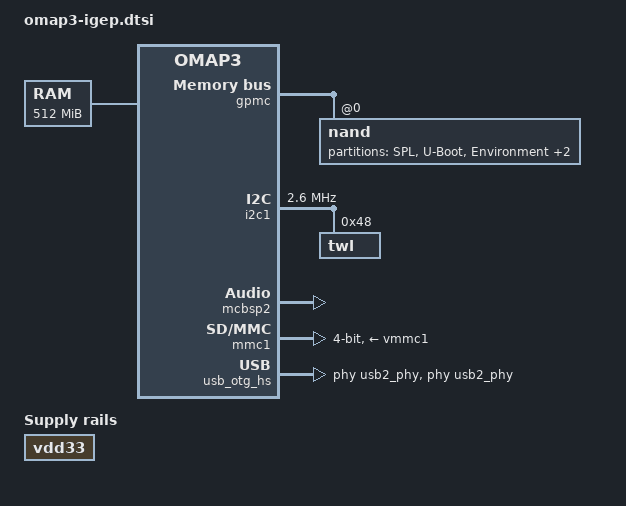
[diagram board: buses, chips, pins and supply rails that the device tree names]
/*
 * Common device tree for IGEP boards based on AM/DM37x
 *
 * Copyright (C) 2012 Javier Martinez Canillas <javier@collabora.co.uk>
 * Copyright (C) 2012 Enric Balletbo i Serra <eballetbo@gmail.com>
 *
 * This program is free software; you can redistribute it and/or modify
 * it under the terms of the GNU General Public License version 2 as
 * published by the Free Software Foundation.
 */
/dts-v1/;

#include "omap36xx.dtsi"

/ {
	memory {
		device_type = "memory";
		reg = <0x80000000 0x20000000>; /* 512 MB */
	};

	sound {
		compatible = "ti,omap-twl4030";
		ti,model = "igep2";
		ti,mcbsp = <&mcbsp2>;
	};

	vdd33: regulator-vdd33 {
		compatible = "regulator-fixed";
		regulator-name = "vdd33";
		regulator-always-on;
	};

};

&omap3_pmx_core {
	uart1_pins: pinmux_uart1_pins {
		pinctrl-single,pins = <
			0x152 (PIN_INPUT | MUX_MODE0)		/* uart1_rx.uart1_rx */
			0x14c (PIN_OUTPUT |MUX_MODE0)		/* uart1_tx.uart1_tx */
		>;
	};

	uart3_pins: pinmux_uart3_pins {
		pinctrl-single,pins = <
			0x16e (PIN_INPUT | MUX_MODE0)		/* uart3_rx.uart3_rx */
			0x170 (PIN_OUTPUT | MUX_MODE0)		/* uart3_tx.uart3_tx */
		>;
	};

	mcbsp2_pins: pinmux_mcbsp2_pins {
		pinctrl-single,pins = <
			0x10c (PIN_INPUT | MUX_MODE0)		/* mcbsp2_fsx.mcbsp2_fsx */
			0x10e (PIN_INPUT | MUX_MODE0)		/* mcbsp2_clkx.mcbsp2_clkx */
			0x110 (PIN_INPUT | MUX_MODE0)		/* mcbsp2_dr.mcbsp2.dr */
			0x112 (PIN_OUTPUT | MUX_MODE0)		/* mcbsp2_dx.mcbsp2_dx */
		>;
	};

	mmc1_pins: pinmux_mmc1_pins {
		pinctrl-single,pins = <
			0x114 (PIN_INPUT_PULLUP | MUX_MODE0)	/* sdmmc1_clk.sdmmc1_clk */
			0x116 (PIN_INPUT_PULLUP | MUX_MODE0)	/* sdmmc1_cmd.sdmmc1_cmd */
			0x118 (PIN_INPUT_PULLUP | MUX_MODE0) 	/* sdmmc1_dat0.sdmmc1_dat0 */
			0x11a (PIN_INPUT_PULLUP | MUX_MODE0)	/* sdmmc1_dat1.sdmmc1_dat1 */
			0x11c (PIN_INPUT_PULLUP | MUX_MODE0)	/* sdmmc1_dat2.sdmmc1_dat2 */
			0x11e (PIN_INPUT_PULLUP | MUX_MODE0)	/* sdmmc1_dat3.sdmmc1_dat3 */
		>;
	};

	mmc2_pins: pinmux_mmc2_pins {
		pinctrl-single,pins = <
			0x128 (PIN_INPUT_PULLUP | MUX_MODE0)	/* sdmmc2_clk.sdmmc2_clk */
			0x12a (PIN_INPUT_PULLUP | MUX_MODE0)	/* sdmmc2_cmd.sdmmc2_cmd */
			0x12c (PIN_INPUT_PULLUP | MUX_MODE0) 	/* sdmmc2_dat0.sdmmc2_dat0 */
			0x12e (PIN_INPUT_PULLUP | MUX_MODE0)	/* sdmmc2_dat1.sdmmc2_dat1 */
			0x130 (PIN_INPUT_PULLUP | MUX_MODE0)	/* sdmmc2_dat2.sdmmc2_dat2 */
			0x132 (PIN_INPUT_PULLUP | MUX_MODE0)	/* sdmmc2_dat3.sdmmc2_dat3 */
		>;
	};

	i2c1_pins: pinmux_i2c1_pins {
		pinctrl-single,pins = <
			0x18a (PIN_INPUT | MUX_MODE0)   /* i2c1_scl.i2c1_scl */
			0x18c (PIN_INPUT | MUX_MODE0)   /* i2c1_sda.i2c1_sda */
		>;
	};

	i2c3_pins: pinmux_i2c3_pins {
		pinctrl-single,pins = <
			0x192 (PIN_INPUT | MUX_MODE0)   /* i2c3_scl.i2c3_scl */
			0x194 (PIN_INPUT | MUX_MODE0)   /* i2c3_sda.i2c3_sda */
		>;
	};
};

&gpmc {
	nand@0,0 {
		linux,mtd-name= "micron,mt29c4g96maz";
		reg = <0 0 4>;	/* CS0, offset 0, IO size 4 */
		nand-bus-width = <16>;
		gpmc,device-width = <2>;
		ti,nand-ecc-opt = "bch8";

		gpmc,sync-clk-ps = <0>;
		gpmc,cs-on-ns = <0>;
		gpmc,cs-rd-off-ns = <44>;
		gpmc,cs-wr-off-ns = <44>;
		gpmc,adv-on-ns = <6>;
		gpmc,adv-rd-off-ns = <34>;
		gpmc,adv-wr-off-ns = <44>;
		gpmc,we-off-ns = <40>;
		gpmc,oe-off-ns = <54>;
		gpmc,access-ns = <64>;
		gpmc,rd-cycle-ns = <82>;
		gpmc,wr-cycle-ns = <82>;
		gpmc,wr-access-ns = <40>;
		gpmc,wr-data-mux-bus-ns = <0>;

		#address-cells = <1>;
		#size-cells = <1>;

		partition@0 {
			label = "SPL";
			reg = <0 0x100000>;
		};
		partition@80000 {
			label = "U-Boot";
			reg = <0x100000 0x180000>;
		};
		partition@1c0000 {
			label = "Environment";
			reg = <0x280000 0x100000>;
		};
		partition@280000 {
			label = "Kernel";
			reg = <0x380000 0x300000>;
		};
		partition@780000 {
			label = "Filesystem";
			reg = <0x680000 0x1f980000>;
		};
	};
};

&i2c1 {
	pinctrl-names = "default";
	pinctrl-0 = <&i2c1_pins>;
	clock-frequency = <2600000>;

	twl: twl@48 {
		reg = <0x48>;
		interrupts = <7>; /* SYS_NIRQ cascaded to intc */
		interrupt-parent = <&intc>;

		twl_audio: audio {
			compatible = "ti,twl4030-audio";
			codec {
			      };
		};
	};
};

#include "twl4030.dtsi"
#include "twl4030_omap3.dtsi"

&i2c3 {
	pinctrl-names = "default";
	pinctrl-0 = <&i2c3_pins>;
};

&mcbsp2 {
	pinctrl-names = "default";
	pinctrl-0 = <&mcbsp2_pins>;
	status = "okay";
};

&mmc1 {
      pinctrl-names = "default";
      pinctrl-0 = <&mmc1_pins>;
      vmmc-supply = <&vmmc1>;
      vmmc_aux-supply = <&vsim>;
      bus-width = <4>;
};

&mmc3 {
	status = "disabled";
};

&uart1 {
       pinctrl-names = "default";
       pinctrl-0 = <&uart1_pins>;
};

&uart3 {
       pinctrl-names = "default";
       pinctrl-0 = <&uart3_pins>;
};

&twl_gpio {
	ti,use-leds;
};

&usb_otg_hs {
	interface-type = <0>;
	usb-phy = <&usb2_phy>;
	phys = <&usb2_phy>;
	phy-names = "usb2-phy";
	mode = <3>;
	power = <50>;
};
